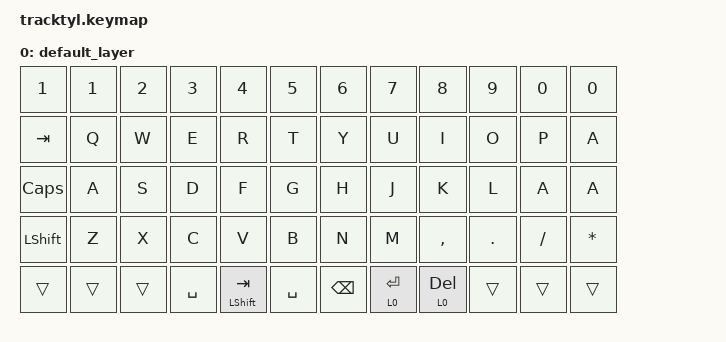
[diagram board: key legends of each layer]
#include <behaviors.dtsi>
#include <dt-bindings/zmk/keys.h>
#include <dt-bindings/zmk/bt.h>
#include <dt-bindings/zmk/outputs.h>

#define DEFAULT 0

/ 
{
    keymap {
        compatible = "zmk,keymap";

    /*
     * Base Layer: L_DC_QWERTY
     *
     * ,------,----------------------------------.                ,----------------------------------.------.
     * |  esc |   1  |   2  |   3  |   4  |   5  |                |   6  |   7  |   8  |   9  |   0  |   0  |
     * ,------,----------------------------------.                ,----------------------------------.------.
     * |  tab |   Q  |   W  |   E  |   R  |   T  |                |   Y  |   U  |   I  |   O  |   P  |   å  |
     * |------|------+------+------+------+------|                |------+------+------+------+------|------|
     * | caps |   A  |   S  |  D   |   F  |   G  |                |   H  |   J  |   K  |   L  |  ö   |  ä   |
     * |------|------+------+------+------+------|                |------+------+------+------+------|------|
     * |shift |   Z  |   X  |   C  |   V  |   B  |                |   N  |   M  | ,  < | . >  | /  ? | /  ? |
     * `------`-------------+------+------+------+                +------+------+------+-------------'------'
     *                      | alt  | ctrl | tab  |                | enter| esc  | del  |
     *                      |      |      | shift|                | NUMS | ARWS |      |
     *                      ----------------------                --------------'------'
     */
         default_layer {
            bindings = <
&kp NUMBER_1    &kp NUMBER_1  &kp NUMBER_2  &kp NUMBER_3  &kp NUMBER_4    &kp N5       &kp NUMBER_6  &kp N7       &kp N8        &kp N9   &kp N0    &kp N0
&kp TAB         &kp Q         &kp W         &kp E         &kp R           &kp T        &kp Y         &kp U        &kp I         &kp O    &kp P     &kp A
&kp CAPSLOCK    &kp A         &kp S         &kp D         &kp F           &kp G        &kp H         &kp J        &kp K         &kp L    &kp A     &kp A
&kp LEFT_SHIFT  &kp Z         &kp X         &kp C         &kp V           &kp B        &kp N         &kp M        &kp COMMA     &kp DOT  &kp FSLH  &kp ASTERISK
&trans          &trans        &trans        &kp SPACE     &mt LSHIFT TAB  &kp SPACE    &kp BSPC      &lt 0 ENTER  &lt 0 DELETE  &trans   &trans    &trans
            >;
        };


    };
};
